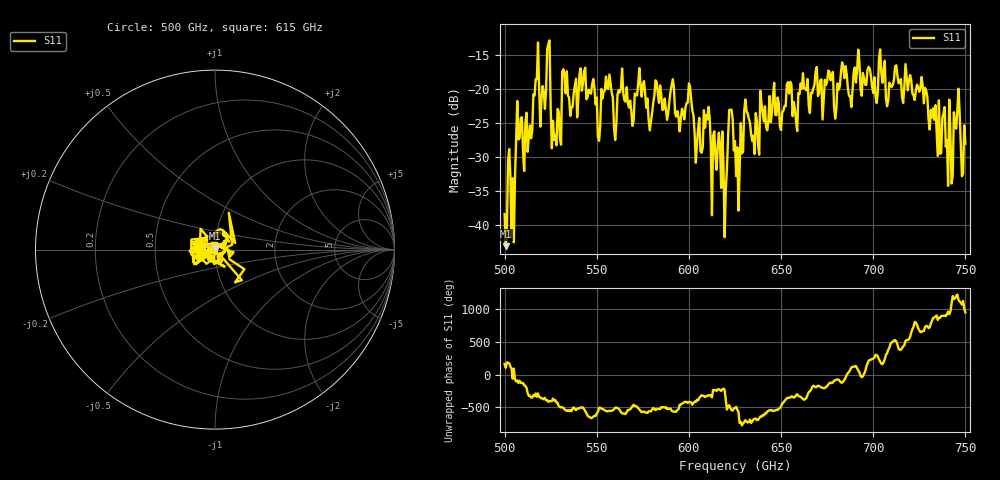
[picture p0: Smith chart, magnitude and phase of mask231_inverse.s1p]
!Created with skrf (http://scikit-rf.org).
# GHz S MA R 50.0
!freq magS11 angS11
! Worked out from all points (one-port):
!   401 points, 500 GHz to 750 GHz, reference 50 ohm
!   lowest |S11| = -43.1 dB at 500.6 GHz (marker M1), VSWR 1.01, Z = 49.8 + j0.673 ohm
!   |S11| at or under -10 dB: start of sweep to end of sweep
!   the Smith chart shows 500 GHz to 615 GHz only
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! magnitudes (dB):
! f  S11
! 500 GHz  -38.4
! 500.6 GHz  -43.1
! 505 GHz  -42.6
! 508.1 GHz  -27.3
! 513.8 GHz  -25.4
! 516.9 GHz  -18.6
! 520.6 GHz  -19.6
! 523.8 GHz  -13.4
! 526.9 GHz  -27.5
! 531.2 GHz  -17.5
! 542.5 GHz  -19.2
! 550.6 GHz  -27.1
! 562.5 GHz  -20.6
! 593.8 GHz  -23.3
! 610 GHz  -24.5
! 618.8 GHz  -31.3
! 622.5 GHz  -23.1
! 625 GHz  -27.7
! 656.2 GHz  -24.0
! 676.9 GHz  -18.8
! 680 GHz  -23.0
! 683.8 GHz  -16.8
! 687.5 GHz  -21.1
! 691.2 GHz  -17.2
! 718.8 GHz  -20.2
! 741.9 GHz  -26.8
! 745 GHz  -25.9
! 750 GHz  -28.1
